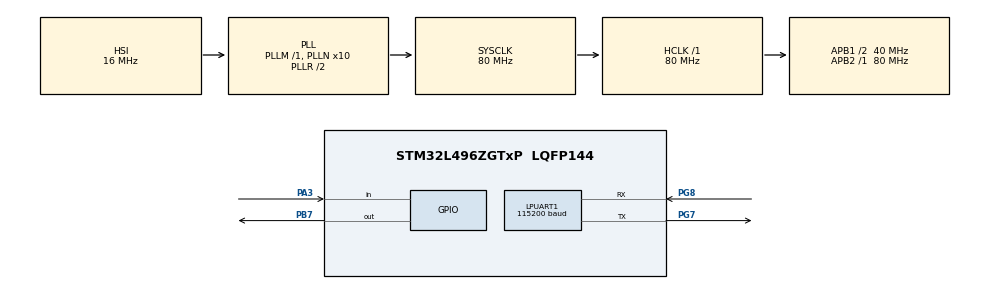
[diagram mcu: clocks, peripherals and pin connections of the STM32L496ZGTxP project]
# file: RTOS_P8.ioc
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FREERTOS.Tasks01=Task1,24,128,StartTask1,Default,NULL,Dynamic,NULL,NULL;Task2,24,256,StartTask2,Default,NULL,Dynamic,NULL,NULL;Task3,24,512,StartTask3,Default,NULL,Dynamic,NULL,NULL;monitorTask,8,512,StartmonitorTask,Default,NULL,Dynamic,NULL,NULL
FREERTOS.configCHECK_FOR_STACK_OVERFLOW=2
FREERTOS.configTOTAL_HEAP_SIZE=10000
FREERTOS.configUSE_NEWLIB_REENTRANT=1
LPUART1.BaudRate=115200
LPUART1.WordLength=UART_WORDLENGTH_8B
Mcu.Family=STM32L4
Mcu.Name=STM32L496ZGTxP
Mcu.Package=LQFP144
NVIC.PriorityGroup=NVIC_PRIORITYGROUP_4
NVIC.TIM6_DAC_IRQn=true\:15\:0\:false\:false\:true\:false\:false\:true\:true
NVIC.TimeBase=TIM6_DAC_IRQn
NVIC.TimeBaseIP=TIM6
PA3.GPIO_PuPd=GPIO_PULLUP
PA3.Signal=GPIO_Input
PB7.Signal=GPIO_Output
PG7.Mode=Asynchronous
PG7.Signal=LPUART1_TX
PG8.Mode=Asynchronous
PG8.Signal=LPUART1_RX
ProjectManager.HeapSize=0x200
ProjectManager.StackSize=0x400
ProjectManager.TargetToolchain=STM32CubeIDE
RCC.48MHZClocksFreq_Value=24000000
RCC.ADCFreq_Value=64000000
RCC.AHBFreq_Value=80000000
RCC.APB1CLKDivider=RCC_HCLK_DIV2
RCC.APB1Freq_Value=40000000
RCC.APB1TimFreq_Value=80000000
RCC.APB2Freq_Value=80000000
RCC.APB2TimFreq_Value=80000000
RCC.CortexFreq_Value=80000000
RCC.HCLKFreq_Value=80000000
RCC.HSE_VALUE=8000000
RCC.HSI48_VALUE=48000000
RCC.HSI_VALUE=16000000
RCC.LSE_VALUE=32768
RCC.MSI_VALUE=4000000
RCC.PLLMUL=RCC_PLL_MUL9
RCC.PLLN=10
RCC.PLLSourceVirtual=RCC_PLLSOURCE_HSI
RCC.PRESCALERUSB=RCC_USBCLKSOURCE_PLL_DIV1_5
RCC.SYSCLKFreq_VALUE=80000000
RCC.SYSCLKSource=RCC_SYSCLKSOURCE_PLLCLK
RCC.SYSCLKSourceVirtual=RCC_SYSCLKSOURCE_PLLCLK
RCC.USBFreq_Value=64000000
RCC.VCOOutputFreq_Value=160000000
VP_FREERTOS_VS_CMSIS_V2.Mode=CMSIS_V2
VP_SYS_VS_tim6.Mode=TIM6
board=NUCLEO-L496ZG-P

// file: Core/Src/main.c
/* USER CODE BEGIN Header */
/**
  ******************************************************************************
  * @file           : main.c
  * @brief          : Main program body
  ******************************************************************************
  * @attention
  *
  * Copyright (c) 2026 STMicroelectronics.
  * All rights reserved.
  *
  * This software is licensed under terms that can be found in the LICENSE file
  * in the root directory of this software component.
  * If no LICENSE file comes with this software, it is provided AS-IS.
  *
  ******************************************************************************
  */
/* USER CODE END Header */
#include "main.h"
#include "cmsis_os.h"

/* USER CODE BEGIN Includes */
#include "stdio.h"
/* USER CODE END Includes */

UART_HandleTypeDef hlpuart1;

/* Definitions for Task1 */
osThreadId_t Task1Handle;
const osThreadAttr_t Task1_attributes = {
  .name = "Task1",
  .stack_size = 128 * 4,
  .priority = (osPriority_t) osPriorityNormal,
};
/* Definitions for Task2 */
osThreadId_t Task2Handle;
const osThreadAttr_t Task2_attributes = {
  .name = "Task2",
  .stack_size = 256 * 4,
  .priority = (osPriority_t) osPriorityNormal,
};
/* Definitions for Task3 */
osThreadId_t Task3Handle;
const osThreadAttr_t Task3_attributes = {
  .name = "Task3",
  .stack_size = 512 * 4,
  .priority = (osPriority_t) osPriorityNormal,
};
/* Definitions for monitorTask */
osThreadId_t monitorTaskHandle;
const osThreadAttr_t monitorTask_attributes = {
  .name = "monitorTask",
  .stack_size = 512 * 4,
  .priority = (osPriority_t) osPriorityLow,
};

void SystemClock_Config(void);
static void MX_GPIO_Init(void);
static void MX_LPUART1_UART_Init(void);
void StartTask1(void *argument);
void StartTask2(void *argument);
void StartTask3(void *argument);
void StartmonitorTask(void *argument);

/* USER CODE BEGIN 0 */
int __io_putchar (int ch)
{
	uint8_t c = ch;
	HAL_UART_Transmit(&hlpuart1, &c, 1, HAL_MAX_DELAY);
	return ch;
}
/* USER CODE END 0 */

int main(void)
{

  /* MCU Configuration--------------------------------------------------------*/

  /* Reset of all peripherals, Initializes the Flash interface and the Systick. */
  HAL_Init();

  /* Configure the system clock */
  SystemClock_Config();

  /* Initialize all configured peripherals */
  MX_GPIO_Init();
  MX_LPUART1_UART_Init();

  /* Init scheduler */
  osKernelInitialize();

  /* Create the thread(s) */
  /* creation of Task1 */
  Task1Handle = osThreadNew(StartTask1, NULL, &Task1_attributes);

  /* creation of Task2 */
  Task2Handle = osThreadNew(StartTask2, NULL, &Task2_attributes);

  /* creation of Task3 */
  Task3Handle = osThreadNew(StartTask3, NULL, &Task3_attributes);

  /* creation of monitorTask */
  monitorTaskHandle = osThreadNew(StartmonitorTask, NULL, &monitorTask_attributes);

  /* Start scheduler */
  osKernelStart();

  /* We should never get here as control is now taken by the scheduler */

  /* Infinite loop */
  while (1)
  {

  }
}

void SystemClock_Config(void)
{
  RCC_OscInitTypeDef RCC_OscInitStruct = {0};
  RCC_ClkInitTypeDef RCC_ClkInitStruct = {0};

  /** Configure the main internal regulator output voltage
  */
  if (HAL_PWREx_ControlVoltageScaling(PWR_REGULATOR_VOLTAGE_SCALE1) != HAL_OK)
  {
    Error_Handler();
  }

  /** Initializes the RCC Oscillators according to the specified parameters
  * in the RCC_OscInitTypeDef structure.
  */
  RCC_OscInitStruct.OscillatorType = RCC_OSCILLATORTYPE_HSI;
  RCC_OscInitStruct.HSIState = RCC_HSI_ON;
  RCC_OscInitStruct.HSICalibrationValue = RCC_HSICALIBRATION_DEFAULT;
  RCC_OscInitStruct.PLL.PLLState = RCC_PLL_ON;
  RCC_OscInitStruct.PLL.PLLSource = RCC_PLLSOURCE_HSI;
  RCC_OscInitStruct.PLL.PLLM = 1;
  RCC_OscInitStruct.PLL.PLLN = 10;
  RCC_OscInitStruct.PLL.PLLP = RCC_PLLP_DIV2;
  RCC_OscInitStruct.PLL.PLLQ = RCC_PLLQ_DIV2;
  RCC_OscInitStruct.PLL.PLLR = RCC_PLLR_DIV2;
  if (HAL_RCC_OscConfig(&RCC_OscInitStruct) != HAL_OK)
  {
    Error_Handler();
  }

  /** Initializes the CPU, AHB and APB buses clocks
  */
  RCC_ClkInitStruct.ClockType = RCC_CLOCKTYPE_HCLK|RCC_CLOCKTYPE_SYSCLK
                              |RCC_CLOCKTYPE_PCLK1|RCC_CLOCKTYPE_PCLK2;
  RCC_ClkInitStruct.SYSCLKSource = RCC_SYSCLKSOURCE_PLLCLK;
  RCC_ClkInitStruct.AHBCLKDivider = RCC_SYSCLK_DIV1;
  RCC_ClkInitStruct.APB1CLKDivider = RCC_HCLK_DIV2;
  RCC_ClkInitStruct.APB2CLKDivider = RCC_HCLK_DIV1;

  if (HAL_RCC_ClockConfig(&RCC_ClkInitStruct, FLASH_LATENCY_4) != HAL_OK)
  {
    Error_Handler();
  }
}

static void MX_LPUART1_UART_Init(void)
{

  hlpuart1.Instance = LPUART1;
  hlpuart1.Init.BaudRate = 115200;
  hlpuart1.Init.WordLength = UART_WORDLENGTH_8B;
  hlpuart1.Init.StopBits = UART_STOPBITS_1;
  hlpuart1.Init.Parity = UART_PARITY_NONE;
  hlpuart1.Init.Mode = UART_MODE_TX_RX;
  hlpuart1.Init.HwFlowCtl = UART_HWCONTROL_NONE;
  hlpuart1.Init.OneBitSampling = UART_ONE_BIT_SAMPLE_DISABLE;
  hlpuart1.AdvancedInit.AdvFeatureInit = UART_ADVFEATURE_NO_INIT;
  if (HAL_UART_Init(&hlpuart1) != HAL_OK)
  {
    Error_Handler();
  }

}

static void MX_GPIO_Init(void)
{
  GPIO_InitTypeDef GPIO_InitStruct = {0};

  /* GPIO Ports Clock Enable */
  __HAL_RCC_GPIOA_CLK_ENABLE();
  __HAL_RCC_GPIOG_CLK_ENABLE();
  HAL_PWREx_EnableVddIO2();
  __HAL_RCC_GPIOB_CLK_ENABLE();

  /*Configure GPIO pin Output Level */
  HAL_GPIO_WritePin(GPIOB, GPIO_PIN_7, GPIO_PIN_RESET);

  /*Configure GPIO pin : PA3 */
  GPIO_InitStruct.Pin = GPIO_PIN_3;
  GPIO_InitStruct.Mode = GPIO_MODE_INPUT;
  GPIO_InitStruct.Pull = GPIO_PULLUP;
  HAL_GPIO_Init(GPIOA, &GPIO_InitStruct);

  /*Configure GPIO pin : PB7 */
  GPIO_InitStruct.Pin = GPIO_PIN_7;
  GPIO_InitStruct.Mode = GPIO_MODE_OUTPUT_PP;
  GPIO_InitStruct.Pull = GPIO_NOPULL;
  GPIO_InitStruct.Speed = GPIO_SPEED_FREQ_LOW;
  HAL_GPIO_Init(GPIOB, &GPIO_InitStruct);

}

void StartTask1(void *argument)
{
  /* USER CODE BEGIN 5 */
	uint8_t foo[100];
  /* Infinite loop */
  for(;;)
  {
	  printf ("Hello from Task 1\n");
    osDelay(2000);
  }
  /* USER CODE END 5 */
}

void StartTask2(void *argument)
{
  for(;;)
  {
    osDelay(1);
  }
}

void StartTask3(void *argument)
{
  for(;;)
  {
    osDelay(1);
  }
}

void StartmonitorTask(void *argument)
{
  /* USER CODE BEGIN StartmonitorTask */
	uint32_t task1Stack, task2Stack, task3Stack;
  /* Infinite loop */
  for(;;)
  {
	  osDelay(5000);
	  task1Stack = osThreadGetStackSpace(Task1Handle);
	  task2Stack = osThreadGetStackSpace(Task2Handle);
	  task3Stack = osThreadGetStackSpace(Task3Handle);
	  printf ("Stack Free - Task1:%lu Bytes\t Task2: %lu Bytes\t Task3: %lu Bytes\n", task1Stack, task2Stack, task3Stack);
  }
  /* USER CODE END StartmonitorTask */
}

void HAL_TIM_PeriodElapsedCallback(TIM_HandleTypeDef *htim)
{
  if (htim->Instance == TIM6)
  {
    HAL_IncTick();
  }
}

void Error_Handler(void)
{
  __disable_irq();
  while (1)
  {
  }
}

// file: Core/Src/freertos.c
/* USER CODE BEGIN Header */
/**
  ******************************************************************************
  * File Name          : freertos.c
  * Description        : Code for freertos applications
  ******************************************************************************
  * @attention
  *
  * Copyright (c) 2026 STMicroelectronics.
  * All rights reserved.
  *
  * This software is licensed under terms that can be found in the LICENSE file
  * in the root directory of this software component.
  * If no LICENSE file comes with this software, it is provided AS-IS.
  *
  ******************************************************************************
  */
/* USER CODE END Header */

#include "FreeRTOS.h"
#include "task.h"
#include "main.h"

/* USER CODE BEGIN Includes */
#include "stdio.h"
/* USER CODE END Includes */

/* USER CODE BEGIN FunctionPrototypes */
extern UART_HandleTypeDef hlpuart1;
/* USER CODE END FunctionPrototypes */

/* Hook prototypes */
void vApplicationStackOverflowHook(xTaskHandle xTask, signed char *pcTaskName);

/* USER CODE BEGIN 4 */
void vApplicationStackOverflowHook(xTaskHandle xTask, signed char *pcTaskName)
{
   /* Run time stack overflow checking is performed if
   configCHECK_FOR_STACK_OVERFLOW is defined to 1 or 2. This hook function is
   called if a stack overflow is detected. */

	HAL_UART_DeInit(&hlpuart1);
	HAL_UART_Init(&hlpuart1);

	char msg[100];
	int len = sprintf (msg, "Stack Overflow Detected in: %s\n", pcTaskName);
	HAL_UART_Transmit(&hlpuart1, (uint8_t *)msg, len, 1000);

	while (1);
}
/* USER CODE END 4 */
